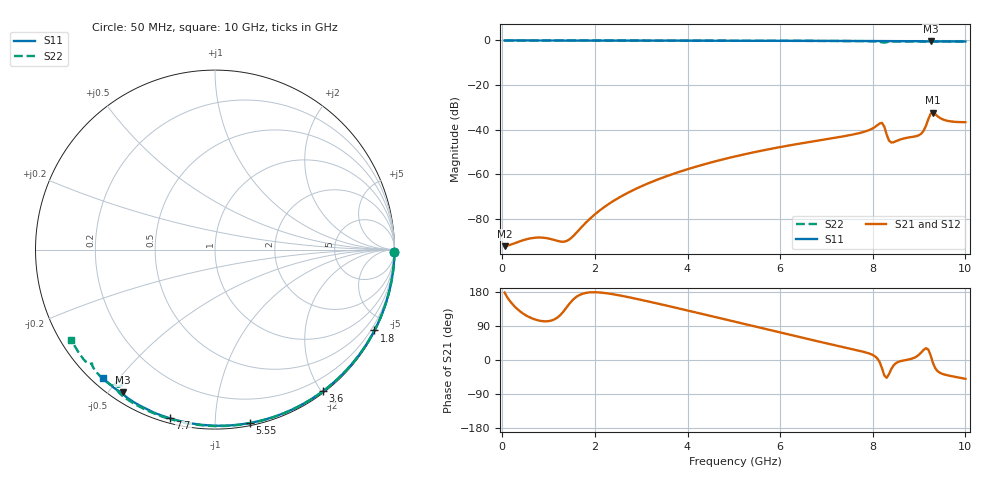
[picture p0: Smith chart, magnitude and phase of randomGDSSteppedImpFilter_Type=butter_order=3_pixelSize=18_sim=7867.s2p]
! freq	dB(S11)	phase(S11)	dB(S12)	phase(S12)
!  dB(S21)	phase(S21)	dB(S22)	phase(S22)
!S-par simulation data
#  GHz  S  DB  R 50
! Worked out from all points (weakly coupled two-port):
!   200 points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, 50 MHz to 10 GHz, reference 50 ohm
!   highest |S21| = -32.36 dB at 9.3 GHz (marker M1); lowest = -92.4 dB at 50 MHz (marker M2)
!   lowest |S11| = -0.5 dB at 9.25 GHz (marker M3), VSWR 37.14, Z = 1.74 - j27.2 ohm
!   |S11| at or under -10 dB: nowhere
!   |S22| runs from -0.9 to 0.0 dB; largest |S21 - S12| = 0
!   S11 on the Smith chart (normalised r, x): 50 MHz: open; 1.8 GHz: 0.04, -4.18; 3.6 GHz: 0.02, -2.02; 5.55 GHz: 0.02, -1.22; 7.7 GHz: 0.02, -0.77; 10 GHz: 0.03, -0.45
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0.05  -0.00 -0.8  -92.39 178.0  -92.39 178.0  -0.00 -0.9
1.75  -0.03 -26.2  -83.00 175.4  -83.00 175.4  -0.04 -29.7
1.8  -0.03 -26.9  -81.93 176.9  -81.93 176.9  -0.04 -30.6
1.9  -0.04 -28.4  -79.93 178.6  -79.93 178.6  -0.04 -32.2
2.25  -0.04 -33.4  -74.13 176.2  -74.13 176.2  -0.05 -38.0
2.65  -0.05 -39.2  -69.09 167.7  -69.09 167.7  -0.06 -44.5
3.4  -0.07 -49.8  -62.10 147.7  -62.10 147.7  -0.07 -56.5
3.6  -0.07 -52.6  -60.58 142.1  -60.58 142.1  -0.08 -59.6
5.05  -0.11 -72.1  -51.98 100.2  -51.98 100.2  -0.12 -81.5
5.55  -0.13 -78.6  -49.71 85.5  -49.71 85.5  -0.14 -88.7
6.7  -0.18 -92.9  -45.36 52.5  -45.36 52.5  -0.20 -104.9
7.7  -0.24 -104.9  -41.66 24.7  -41.66 24.7  -0.28 -118.8
8.2  -0.27 -110.9  -37.03 -22.2  -37.03 -22.2  -0.86 -126.6
8.25  -0.28 -111.4  -38.79 -41.1  -38.79 -41.1  -0.94 -125.1
8.35  -0.29 -112.6  -44.98 -37.4  -44.98 -37.4  -0.60 -125.0
8.45  -0.30 -113.7  -45.70 -14.1  -45.70 -14.1  -0.46 -126.8
9  -0.35 -120.1  -42.53 14.3  -42.53 14.3  -0.47 -135.0
9.1  -0.37 -121.4  -40.45 27.0  -40.45 27.0  -0.51 -136.3
9.25  -0.47 -122.9  -32.89 12.2  -32.89 12.2  -0.59 -137.2
9.3  -0.46 -123.1  -32.36 -7.9  -32.36 -7.9  -0.50 -137.6
9.55  -0.41 -125.9  -35.75 -38.4  -35.75 -38.4  -0.42 -141.7
10  -0.45 -131.1  -36.72 -49.6  -36.72 -49.6  -0.48 -148.0
